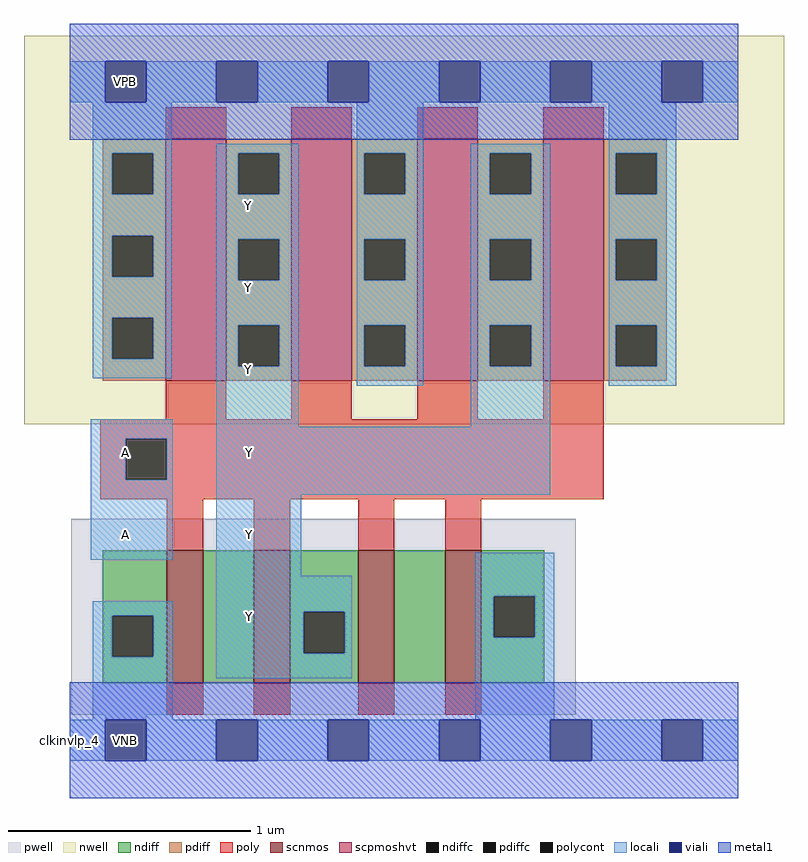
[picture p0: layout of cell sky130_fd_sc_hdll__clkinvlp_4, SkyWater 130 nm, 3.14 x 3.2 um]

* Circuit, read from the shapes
.subckt sky130_fd_sc_hdll__clkinvlp_4 A VGND VNB VPB VPWR Y
XM1 n1 A VGND VNB sky130_fd_pr__nfet_01v8 w=0.55 l=0.15
XM2 Y A n1 VNB sky130_fd_pr__nfet_01v8 w=0.55 l=0.15
XM3 n2 A Y VNB sky130_fd_pr__nfet_01v8 w=0.55 l=0.15
XM4 VGND A n2 VNB sky130_fd_pr__nfet_01v8 w=0.55 l=0.15
XM5 Y A VPWR VPB sky130_fd_pr__pfet_01v8_hvt w=1 l=0.25 m=4
.ends

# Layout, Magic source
magic
tech sky130A
magscale 1 2
<< nwell >>
rect -38 261 590 582
<< pwell >>
rect 1 21 418 183
rect 29 -17 63 21
<< scnmos >>
rect 80 47 110 157
rect 152 47 182 157
rect 238 47 268 157
rect 310 47 340 157
<< scpmoshvt >>
rect 79 297 129 497
rect 183 297 233 497
rect 287 297 337 497
rect 391 297 441 497
<< ndiff >>
rect 27 103 80 157
rect 27 69 35 103
rect 69 69 80 103
rect 27 47 80 69
rect 110 47 152 157
rect 182 106 238 157
rect 182 72 193 106
rect 227 72 238 106
rect 182 47 238 72
rect 268 47 310 157
rect 340 119 392 157
rect 340 85 350 119
rect 384 85 392 119
rect 340 47 392 85
<< pdiff >>
rect 27 485 79 497
rect 27 451 35 485
rect 69 451 79 485
rect 27 417 79 451
rect 27 383 35 417
rect 69 383 79 417
rect 27 349 79 383
rect 27 315 35 349
rect 69 315 79 349
rect 27 297 79 315
rect 129 485 183 497
rect 129 451 139 485
rect 173 451 183 485
rect 129 414 183 451
rect 129 380 139 414
rect 173 380 183 414
rect 129 343 183 380
rect 129 309 139 343
rect 173 309 183 343
rect 129 297 183 309
rect 233 485 287 497
rect 233 451 243 485
rect 277 451 287 485
rect 233 414 287 451
rect 233 380 243 414
rect 277 380 287 414
rect 233 343 287 380
rect 233 309 243 343
rect 277 309 287 343
rect 233 297 287 309
rect 337 485 391 497
rect 337 451 347 485
rect 381 451 391 485
rect 337 414 391 451
rect 337 380 347 414
rect 381 380 391 414
rect 337 343 391 380
rect 337 309 347 343
rect 381 309 391 343
rect 337 297 391 309
rect 441 485 493 497
rect 441 451 451 485
rect 485 451 493 485
rect 441 414 493 451
rect 441 380 451 414
rect 485 380 493 414
rect 441 343 493 380
rect 441 309 451 343
rect 485 309 493 343
rect 441 297 493 309
<< ndiffc >>
rect 35 69 69 103
rect 193 72 227 106
rect 350 85 384 119
<< pdiffc >>
rect 35 451 69 485
rect 35 383 69 417
rect 35 315 69 349
rect 139 451 173 485
rect 139 380 173 414
rect 139 309 173 343
rect 243 451 277 485
rect 243 380 277 414
rect 243 309 277 343
rect 347 451 381 485
rect 347 380 381 414
rect 347 309 381 343
rect 451 451 485 485
rect 451 380 485 414
rect 451 309 485 343
<< poly >>
rect 79 497 129 523
rect 183 497 233 523
rect 287 497 337 523
rect 391 497 441 523
rect 79 265 129 297
rect 183 265 233 297
rect 287 265 337 297
rect 391 265 441 297
rect 25 249 441 265
rect 25 215 46 249
rect 80 215 441 249
rect 25 199 441 215
rect 80 157 110 199
rect 152 157 182 199
rect 238 157 268 199
rect 310 157 340 199
rect 80 21 110 47
rect 152 21 182 47
rect 238 21 268 47
rect 310 21 340 47
<< polycont >>
rect 46 215 80 249
<< locali >>
rect 0 527 29 561
rect 63 527 121 561
rect 155 527 213 561
rect 247 527 305 561
rect 339 527 397 561
rect 431 527 489 561
rect 523 527 552 561
rect 19 485 84 527
rect 19 451 35 485
rect 69 451 84 485
rect 19 417 84 451
rect 19 383 35 417
rect 69 383 84 417
rect 19 349 84 383
rect 19 315 35 349
rect 69 315 84 349
rect 19 299 84 315
rect 121 485 189 493
rect 121 451 139 485
rect 173 451 189 485
rect 121 414 189 451
rect 121 380 139 414
rect 173 380 189 414
rect 121 343 189 380
rect 121 309 139 343
rect 173 309 189 343
rect 17 249 85 265
rect 17 215 46 249
rect 80 215 85 249
rect 17 149 85 215
rect 121 259 189 309
rect 237 485 292 527
rect 237 451 243 485
rect 277 451 292 485
rect 237 414 292 451
rect 237 380 243 414
rect 277 380 292 414
rect 237 343 292 380
rect 237 309 243 343
rect 277 309 292 343
rect 237 293 292 309
rect 331 485 397 493
rect 331 451 347 485
rect 381 451 397 485
rect 331 414 397 451
rect 331 380 347 414
rect 381 380 397 414
rect 331 343 397 380
rect 331 309 347 343
rect 381 309 397 343
rect 331 259 397 309
rect 445 485 501 527
rect 445 451 451 485
rect 485 451 501 485
rect 445 414 501 451
rect 445 380 451 414
rect 485 380 501 414
rect 445 343 501 380
rect 445 309 451 343
rect 485 309 501 343
rect 445 293 501 309
rect 121 203 397 259
rect 121 136 191 203
rect 19 103 85 115
rect 19 69 35 103
rect 69 69 85 103
rect 19 17 85 69
rect 121 106 233 136
rect 121 72 193 106
rect 227 72 233 106
rect 121 51 233 72
rect 335 119 400 155
rect 335 85 350 119
rect 384 85 400 119
rect 335 17 400 85
rect 0 -17 29 17
rect 63 -17 121 17
rect 155 -17 213 17
rect 247 -17 305 17
rect 339 -17 397 17
rect 431 -17 489 17
rect 523 -17 552 17
<< viali >>
rect 29 527 63 561
rect 121 527 155 561
rect 213 527 247 561
rect 305 527 339 561
rect 397 527 431 561
rect 489 527 523 561
rect 29 -17 63 17
rect 121 -17 155 17
rect 213 -17 247 17
rect 305 -17 339 17
rect 397 -17 431 17
rect 489 -17 523 17
<< metal1 >>
rect 0 561 552 592
rect 0 527 29 561
rect 63 527 121 561
rect 155 527 213 561
rect 247 527 305 561
rect 339 527 397 561
rect 431 527 489 561
rect 523 527 552 561
rect 0 496 552 527
rect 0 17 552 48
rect 0 -17 29 17
rect 63 -17 121 17
rect 155 -17 213 17
rect 247 -17 305 17
rect 339 -17 397 17
rect 431 -17 489 17
rect 523 -17 552 17
rect 0 -48 552 -17
<< labels >>
flabel locali s 29 221 63 255 0 FreeSans 400 0 0 0 A
port 1 nsew signal input
flabel locali s 132 85 165 119 0 FreeSans 400 0 0 0 Y
port 6 nsew signal output
flabel locali s 132 153 165 187 0 FreeSans 400 0 0 0 Y
port 6 nsew signal output
flabel locali s 132 221 165 255 0 FreeSans 400 0 0 0 Y
port 6 nsew signal output
flabel locali s 131 289 164 323 0 FreeSans 400 0 0 0 Y
port 6 nsew signal output
flabel locali s 131 357 164 391 0 FreeSans 400 0 0 0 Y
port 6 nsew signal output
flabel locali s 131 425 164 459 0 FreeSans 400 0 0 0 Y
port 6 nsew signal output
flabel locali s 29 153 63 187 0 FreeSans 400 0 0 0 A
port 1 nsew signal input
flabel pwell s 29 -17 63 17 0 FreeSans 200 0 0 0 VNB
port 3 nsew ground bidirectional
flabel nwell s 29 527 63 561 0 FreeSans 200 0 0 0 VPB
port 4 nsew power bidirectional
flabel metal1 s 29 527 63 561 0 FreeSans 200 0 0 0 VPWR
port 5 nsew power bidirectional
flabel metal1 s 29 -17 63 17 0 FreeSans 200 0 0 0 VGND
port 2 nsew ground bidirectional
rlabel comment s 0 0 0 0 4 clkinvlp_4
<< properties >>
string LEFsite unithd
string LEFclass CORE
string FIXED_BBOX 0 0 552 544
string GDS_FILE $PDKPATH/libs.ref/sky130_fd_sc_hdll/gds/sky130_fd_sc_hdll.gds
string LEFsymmetry X Y R90
string GDS_END 48740
string GDS_START 43028
string LEFproperties maskLayoutSubType "abstract" prCellType "standard" originalViewName "layout"
<< end >>
